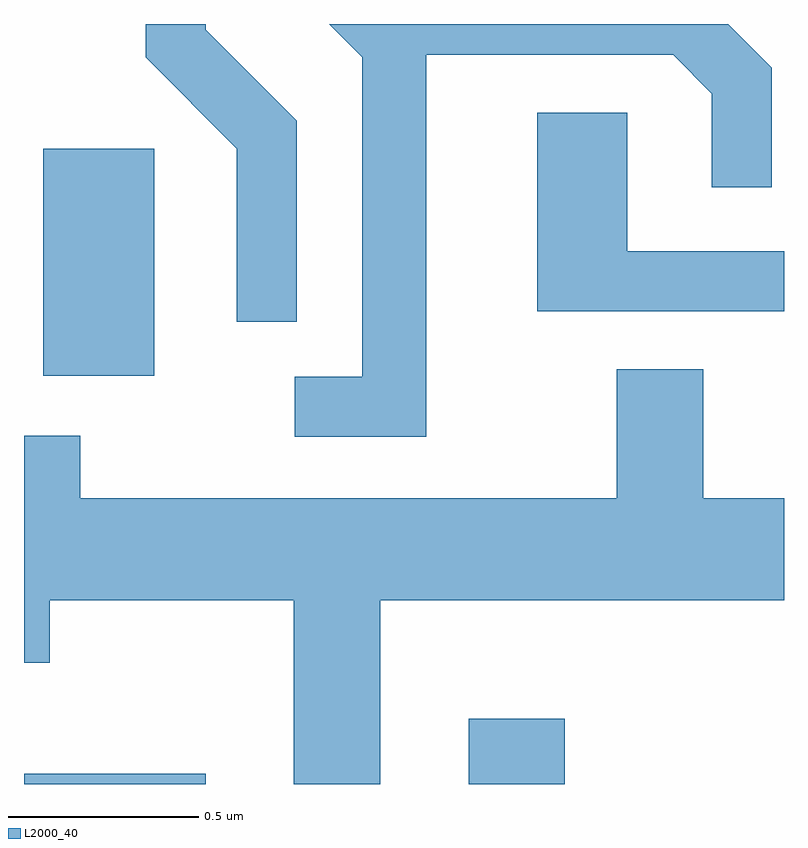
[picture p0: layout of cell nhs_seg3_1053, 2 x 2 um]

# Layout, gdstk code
import gdstk
lib = gdstk.Library(unit=1e-6, precision=1e-09)
def R(c, l, rs):  # rectangles x0, y0, x1, y1
    for r in rs: c.add(gdstk.rectangle(r[:2], r[2:], *l))
def P(c, l, *ps):  # polygons
    for p in ps: c.add(gdstk.Polygon(p, *l))
L2000_40 = (2000, 40)

nhs_seg3_1053 = lib.new_cell('nhs_seg3_1053')
R(nhs_seg3_1053, L2000_40, [(192.611,1209.892,193.089,1209.919), (193.781,1209.892,194.034,1210.064), (192.661,1210.966,192.954,1211.564)])
P(nhs_seg3_1053, L2000_40, [(193.669,1211.811),(194.319,1211.811),(194.421,1211.709),(194.421,1211.463),(194.579,1211.463),(194.579,1211.777),(194.464,1211.892),(193.293,1211.892),(193.293,1211.891),(193.414,1211.891),(193.501,1211.804),(193.501,1210.964),(193.323,1210.964),(193.323,1210.806),(193.669,1210.806)],
  [(193.329,1211.637),(193.089,1211.877),(193.089,1211.892),(192.931,1211.892),(192.931,1211.804),(193.171,1211.564),(193.171,1211.108),(193.329,1211.108)],
  [(194.611,1211.294),(194.199,1211.294),(194.199,1211.659),(193.961,1211.659),(193.961,1211.136),(194.611,1211.136)],
  [(193.549,1210.376),(194.611,1210.376),(194.611,1210.644),(194.399,1210.644),(194.399,1210.984),(194.171,1210.984),(194.171,1210.644),(192.759,1210.644),(192.759,1210.809),(192.611,1210.809),(192.611,1210.211),(192.679,1210.211),(192.679,1210.376),(193.321,1210.376),(193.321,1209.892),(193.549,1209.892)])

lib.write_gds('nhs_seg3_1053.gds')
